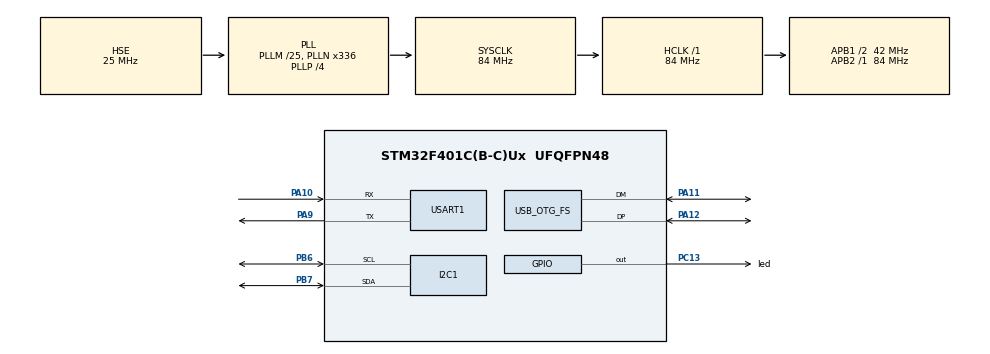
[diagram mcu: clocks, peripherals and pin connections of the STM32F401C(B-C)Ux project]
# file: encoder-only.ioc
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FREERTOS.Tasks01=defaultTask,24,128,StartDefaultTask,Default,NULL,Dynamic,NULL,NULL
FREERTOS.configUSE_NEWLIB_REENTRANT=1
Mcu.Family=STM32F4
Mcu.Name=STM32F401C(B-C)Ux
Mcu.Package=UFQFPN48
NVIC.OTG_FS_IRQn=true\:5\:0\:false\:false\:true\:true\:false\:true\:true
NVIC.PriorityGroup=NVIC_PRIORITYGROUP_4
NVIC.TIM1_UP_TIM10_IRQn=true\:15\:0\:false\:false\:true\:false\:false\:true\:true
NVIC.TimeBase=TIM1_UP_TIM10_IRQn
NVIC.TimeBaseIP=TIM10
PA10.Mode=Asynchronous
PA10.Signal=USART1_RX
PA11.Mode=Device_Only
PA11.Signal=USB_OTG_FS_DM
PA12.Mode=Device_Only
PA12.Signal=USB_OTG_FS_DP
PA13.Mode=Serial_Wire
PA13.Signal=SYS_JTMS-SWDIO
PA14.Mode=Serial_Wire
PA14.Signal=SYS_JTCK-SWCLK
PA9.Mode=Asynchronous
PA9.Signal=USART1_TX
PB6.Mode=I2C
PB6.Signal=I2C1_SCL
PB7.Mode=I2C
PB7.Signal=I2C1_SDA
PC13-ANTI_TAMP.GPIO_Label=led
PC13-ANTI_TAMP.Signal=GPIO_Output
PC14-OSC32_IN.Mode=LSE-External-Oscillator
PC14-OSC32_IN.Signal=RCC_OSC32_IN
PC15-OSC32_OUT.Mode=LSE-External-Oscillator
PC15-OSC32_OUT.Signal=RCC_OSC32_OUT
PH0\ -\ OSC_IN.Mode=HSE-External-Oscillator
PH0\ -\ OSC_IN.Signal=RCC_OSC_IN
PH1\ -\ OSC_OUT.Mode=HSE-External-Oscillator
PH1\ -\ OSC_OUT.Signal=RCC_OSC_OUT
ProjectManager.HeapSize=0x200
ProjectManager.StackSize=0x400
ProjectManager.TargetToolchain=CMake
RCC.48MHZClocksFreq_Value=48000000
RCC.AHBFreq_Value=84000000
RCC.APB1CLKDivider=RCC_HCLK_DIV2
RCC.APB1Freq_Value=42000000
RCC.APB1TimFreq_Value=84000000
RCC.APB2Freq_Value=84000000
RCC.APB2TimFreq_Value=84000000
RCC.CortexFreq_Value=84000000
RCC.HCLKFreq_Value=84000000
RCC.HSE_VALUE=25000000
RCC.HSI_VALUE=16000000
RCC.PLLM=25
RCC.PLLN=336
RCC.PLLP=RCC_PLLP_DIV4
RCC.PLLQ=7
RCC.RCC_RTC_Clock_Source=RCC_RTCCLKSOURCE_LSE
RCC.RCC_RTC_Clock_SourceVirtual=RCC_RTCCLKSOURCE_LSE
RCC.SYSCLKFreq_VALUE=84000000
RCC.SYSCLKSource=RCC_SYSCLKSOURCE_PLLCLK
RCC.VCOOutputFreq_Value=336000000
USART1.VirtualMode=VM_ASYNC
USB_DEVICE.CLASS_NAME_FS=CDC
USB_DEVICE.VirtualMode=Cdc
USB_DEVICE.VirtualModeFS=Cdc_FS
USB_OTG_FS.VirtualMode=Device_Only
VP_FREERTOS_VS_CMSIS_V2.Mode=CMSIS_V2
VP_RTC_VS_RTC_Activate.Mode=RTC_Enabled
VP_SYS_VS_tim10.Mode=TIM10
VP_USB_DEVICE_VS_USB_DEVICE_CDC_FS.Mode=CDC_FS
board=custom

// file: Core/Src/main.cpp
/* USER CODE BEGIN Header */
/**
  ******************************************************************************
  * @file           : main.c
  * @brief          : Main program body
  ******************************************************************************
  * @attention
  *
  * Copyright (c) 2025 STMicroelectronics.
  * All rights reserved.
  *
  * This software is licensed under terms that can be found in the LICENSE file
  * in the root directory of this software component.
  * If no LICENSE file comes with this software, it is provided AS-IS.
  *
  ******************************************************************************
  */
/* USER CODE END Header */
#include "main.h"
#include "cmsis_os.h"
#include "usb_device.h"

/* USER CODE BEGIN Includes */
#include <cstdbool>
#include <cstdio>
#include <cstring>
#include <cstdarg>
#include "Encoder.h"
#include "Led.h"
#include "Oled.hpp"
#include "Tasks.h"
#include "cmsis_os.h"

/* USER CODE END Includes */

/* USER CODE BEGIN PD */

// Firmware version
#define FW_VERSION "v0.4-date-time"

// Verbose logging control (1 = enable all logging, 0 = disable all logging)
// VERBOSE has priority over LOG_USB_ENABLED and LOG_UART_ENABLED
#define VERBOSE 1

// Individual channel control (only works if VERBOSE = 1)
#define LOG_UART_ENABLED 1  // Enable/disable UART logging
#define LOG_USB_ENABLED  1  // Enable/disable USB CDC logging

/* USER CODE END PD */

I2C_HandleTypeDef hi2c1;

RTC_HandleTypeDef hrtc;

UART_HandleTypeDef huart1;

/* Definitions for defaultTask */
osThreadId_t defaultTaskHandle;
const osThreadAttr_t defaultTask_attributes = {
  .name = "defaultTask",
  .stack_size = 256 * 4,
  .priority = (osPriority_t) osPriorityNormal,
};
/* USER CODE BEGIN PV */

// External USB CDC function
extern "C" uint8_t CDC_Transmit_FS(uint8_t* Buf, uint16_t Len);

// C++ objects (global for FreeRTOS tasks)
Encoder* encoder = nullptr;
Led* led = nullptr;
display::Oled* oled = nullptr;

// Export for tasks
Led* g_led = nullptr;
Encoder* g_encoder = nullptr;
display::Oled* g_oled = nullptr;

// Test mode flag (set at startup if TEST_BTN pressed)
bool g_test_mode = false;

/* USER CODE END PV */

void SystemClock_Config(void);
static void MX_GPIO_Init(void);
static void MX_RTC_Init(void);
static void MX_USART1_UART_Init(void);
static void MX_I2C1_Init(void);
void StartDefaultTask(void *argument);

/* USER CODE BEGIN 0 */

// EXTI callback for encoder channel A
extern "C" void HAL_GPIO_EXTI_Callback(uint16_t GPIO_Pin) {
  if (GPIO_Pin == ENCODER_A_Pin && encoder != nullptr) {
    encoder->handleInterrupt();
  }
}

// Dual output logging function (UART + USB-CDC) with timestamp
// VERBOSE = 0: All logging disabled
// VERBOSE = 1: Logging enabled, channels controlled by LOG_UART_ENABLED and LOG_USB_ENABLED
void Log_Printf(const char* format, ...) {
#if VERBOSE
  char message[256];
  char full_message[288];  // timestamp (32) + message (256)

  // Get current time from RTC
  RTC_TimeTypeDef sTime;
  RTC_DateTypeDef sDate;
  HAL_RTC_GetTime(&hrtc, &sTime, RTC_FORMAT_BIN);
  HAL_RTC_GetDate(&hrtc, &sDate, RTC_FORMAT_BIN);

  // Format user message first
  va_list args;
  va_start(args, format);
  int msg_len = vsnprintf(message, sizeof(message), format, args);
  va_end(args);

  if (msg_len > 0 && msg_len < (int)sizeof(message)) {
    // Combine timestamp + message into one buffer
    int total_len = snprintf(full_message, sizeof(full_message),
                            "[%02d.%02d.%02d %02d:%02d:%02d] %s",
                            sDate.Date, sDate.Month, sDate.Year,
                            sTime.Hours, sTime.Minutes, sTime.Seconds,
                            message);

    if (total_len > 0 && total_len < (int)sizeof(full_message)) {
#if LOG_UART_ENABLED
      // Send to UART1 if enabled (single transmission)
      HAL_UART_Transmit(&huart1, (uint8_t*)full_message, total_len, 100);
#endif

#if LOG_USB_ENABLED
      // Send to USB-CDC if enabled (single transmission)
      CDC_Transmit_FS((uint8_t*)full_message, total_len);
#endif
    }
  }
#endif
}

// Printf redirect for standard printf (uses UART only)
#ifdef __GNUC__
extern "C" int __io_putchar(int ch) {
  HAL_UART_Transmit(&huart1, (uint8_t*)&ch, 1, 10);
  return ch;
}
#endif

// Print startup banner with firmware version
void Print_Startup_Banner(void) {
  Log_Printf("=================================\r\n");
  Log_Printf("Firmware: %s\r\n", FW_VERSION);
  Log_Printf("Build: %s %s\r\n", __DATE__, __TIME__);
  Log_Printf("System started\r\n");
  Log_Printf("=================================\r\n");
}

/* USER CODE END 0 */

int main(void)
{

  /* MCU Configuration--------------------------------------------------------*/

  /* Reset of all peripherals, Initializes the Flash interface and the Systick. */
  HAL_Init();

  /* Configure the system clock */
  SystemClock_Config();

  /* Initialize all configured peripherals */
  MX_GPIO_Init();
  MX_RTC_Init();
  MX_USART1_UART_Init();
  MX_I2C1_Init();
  /* USER CODE BEGIN 2 */

  // Check if TEST_BTN (PA0) or ENCODER_ENTER is pressed at startup (active LOW with pull-up)
  GPIO_PinState pa0_state = HAL_GPIO_ReadPin(TEST_BTN_GPIO_Port, TEST_BTN_Pin);
  GPIO_PinState encoder_btn_state = HAL_GPIO_ReadPin(ENCODER_ENTER_GPIO_Port, ENCODER_ENTER_Pin);

  if (pa0_state == GPIO_PIN_RESET || encoder_btn_state == GPIO_PIN_RESET) {
    g_test_mode = true;
  }

  // Custom GPIO initialization for encoder pins
  GPIO_InitTypeDef GPIO_InitStruct = {0};

  // Enable GPIOB clock
  __HAL_RCC_GPIOB_CLK_ENABLE();

  // Configure GND pin as output LOW
  HAL_GPIO_WritePin(GND_PIN_GPIO_Port, GND_PIN_Pin, GPIO_PIN_RESET);
  GPIO_InitStruct.Pin = GND_PIN_Pin;
  GPIO_InitStruct.Mode = GPIO_MODE_OUTPUT_PP;
  GPIO_InitStruct.Pull = GPIO_NOPULL;
  GPIO_InitStruct.Speed = GPIO_SPEED_FREQ_LOW;
  HAL_GPIO_Init(GND_PIN_GPIO_Port, &GPIO_InitStruct);

  // Configure ENCODER_A with interrupt on both edges (CHANGE)
  GPIO_InitStruct.Pin = ENCODER_A_Pin;
  GPIO_InitStruct.Mode = GPIO_MODE_IT_RISING_FALLING;
  GPIO_InitStruct.Pull = GPIO_PULLUP;
  HAL_GPIO_Init(ENCODER_A_GPIO_Port, &GPIO_InitStruct);

  // Configure ENCODER_B as input with pull-up
  GPIO_InitStruct.Pin = ENCODER_B_Pin;
  GPIO_InitStruct.Mode = GPIO_MODE_INPUT;
  GPIO_InitStruct.Pull = GPIO_PULLUP;
  HAL_GPIO_Init(ENCODER_B_GPIO_Port, &GPIO_InitStruct);

  // Configure ENCODER_ENTER as input with pull-up
  GPIO_InitStruct.Pin = ENCODER_ENTER_Pin;
  GPIO_InitStruct.Mode = GPIO_MODE_INPUT;
  GPIO_InitStruct.Pull = GPIO_PULLUP;
  HAL_GPIO_Init(ENCODER_ENTER_GPIO_Port, &GPIO_InitStruct);

  // Enable EXTI interrupt for ENCODER_A
  HAL_NVIC_SetPriority(EXTI15_10_IRQn, 0, 0);
  HAL_NVIC_EnableIRQ(EXTI15_10_IRQn);

  // Create C++ objects
  encoder = new Encoder(ENCODER_A_GPIO_Port, ENCODER_A_Pin,
                        ENCODER_B_GPIO_Port, ENCODER_B_Pin,
                        ENCODER_ENTER_GPIO_Port, ENCODER_ENTER_Pin);
  encoder->init();

  led = new Led(led_GPIO_Port, led_Pin, false); // active low

  // Initialize OLED display
  oled = new display::Oled(&hi2c1);
  if (oled->init()) {
    oled->clear();
    oled->drawString(0, 0, "Encoder-Only");
    oled->drawString(0, 16, FW_VERSION);
    oled->update();
    // Note: Banner timeout handled in testTask (non-blocking)
  }

  // Share with FreeRTOS tasks
  g_encoder = encoder;
  g_led = led;
  g_oled = oled;

  // Note: Startup banner will be printed from testTask
  // after USB CDC enumeration (button press or 5 sec timeout)

  /* USER CODE END 2 */

  /* Init scheduler */
  osKernelInitialize();

  /* Create the thread(s) */
  /* creation of defaultTask */
  defaultTaskHandle = osThreadNew(StartDefaultTask, NULL, &defaultTask_attributes);

  /* USER CODE BEGIN RTOS_THREADS */
  /* add threads, ... */

  // Create LED heartbeat task
  const osThreadAttr_t ledTask_attributes = {
    .name = "ledTask",
    .stack_size = 512 * 4,
    .priority = (osPriority_t) osPriorityLow,
  };
  ledTaskHandle = osThreadNew(ledTask, NULL, &ledTask_attributes);

  // Create encoder test task
  const osThreadAttr_t testTask_attributes = {
    .name = "testTask",
    .stack_size = 256 * 4,
    .priority = (osPriority_t) osPriorityNormal,
  };
  testTaskHandle = osThreadNew(testTask, NULL, &testTask_attributes);

  /* USER CODE END RTOS_THREADS */

  /* Start scheduler */
  osKernelStart();

  /* We should never get here as control is now taken by the scheduler */

  /* Infinite loop */
  /* USER CODE BEGIN WHILE */

  // This code should never be reached - FreeRTOS scheduler has taken control
  while (1)
  {
    /* USER CODE END WHILE */

  }
}

void SystemClock_Config(void)
{
  RCC_OscInitTypeDef RCC_OscInitStruct = {0};
  RCC_ClkInitTypeDef RCC_ClkInitStruct = {0};

  /** Configure the main internal regulator output voltage
  */
  __HAL_RCC_PWR_CLK_ENABLE();
  __HAL_PWR_VOLTAGESCALING_CONFIG(PWR_REGULATOR_VOLTAGE_SCALE2);

  /** Initializes the RCC Oscillators according to the specified parameters
  * in the RCC_OscInitTypeDef structure.
  */
  RCC_OscInitStruct.OscillatorType = RCC_OSCILLATORTYPE_HSE|RCC_OSCILLATORTYPE_LSE;
  RCC_OscInitStruct.HSEState = RCC_HSE_ON;
  RCC_OscInitStruct.LSEState = RCC_LSE_ON;
  RCC_OscInitStruct.PLL.PLLState = RCC_PLL_ON;
  RCC_OscInitStruct.PLL.PLLSource = RCC_PLLSOURCE_HSE;
  RCC_OscInitStruct.PLL.PLLM = 25;
  RCC_OscInitStruct.PLL.PLLN = 336;
  RCC_OscInitStruct.PLL.PLLP = RCC_PLLP_DIV4;
  RCC_OscInitStruct.PLL.PLLQ = 7;
  if (HAL_RCC_OscConfig(&RCC_OscInitStruct) != HAL_OK)
  {
    Error_Handler();
  }

  /** Initializes the CPU, AHB and APB buses clocks
  */
  RCC_ClkInitStruct.ClockType = RCC_CLOCKTYPE_HCLK|RCC_CLOCKTYPE_SYSCLK
                              |RCC_CLOCKTYPE_PCLK1|RCC_CLOCKTYPE_PCLK2;
  RCC_ClkInitStruct.SYSCLKSource = RCC_SYSCLKSOURCE_PLLCLK;
  RCC_ClkInitStruct.AHBCLKDivider = RCC_SYSCLK_DIV1;
  RCC_ClkInitStruct.APB1CLKDivider = RCC_HCLK_DIV2;
  RCC_ClkInitStruct.APB2CLKDivider = RCC_HCLK_DIV1;

  if (HAL_RCC_ClockConfig(&RCC_ClkInitStruct, FLASH_LATENCY_2) != HAL_OK)
  {
    Error_Handler();
  }
}

static void MX_I2C1_Init(void)
{

  hi2c1.Instance = I2C1;
  hi2c1.Init.ClockSpeed = 100000;
  hi2c1.Init.DutyCycle = I2C_DUTYCYCLE_2;
  hi2c1.Init.OwnAddress1 = 0;
  hi2c1.Init.AddressingMode = I2C_ADDRESSINGMODE_7BIT;
  hi2c1.Init.DualAddressMode = I2C_DUALADDRESS_DISABLE;
  hi2c1.Init.OwnAddress2 = 0;
  hi2c1.Init.GeneralCallMode = I2C_GENERALCALL_DISABLE;
  hi2c1.Init.NoStretchMode = I2C_NOSTRETCH_DISABLE;
  if (HAL_I2C_Init(&hi2c1) != HAL_OK)
  {
    Error_Handler();
  }

}

static void MX_RTC_Init(void)
{

  /** Initialize RTC Only
  */
  hrtc.Instance = RTC;
  hrtc.Init.HourFormat = RTC_HOURFORMAT_24;
  hrtc.Init.AsynchPrediv = 127;
  hrtc.Init.SynchPrediv = 255;
  hrtc.Init.OutPut = RTC_OUTPUT_DISABLE;
  hrtc.Init.OutPutPolarity = RTC_OUTPUT_POLARITY_HIGH;
  hrtc.Init.OutPutType = RTC_OUTPUT_TYPE_OPENDRAIN;
  if (HAL_RTC_Init(&hrtc) != HAL_OK)
  {
    Error_Handler();
  }
  /* USER CODE BEGIN RTC_Init 2 */

  // Set initial date and time: 10.10.2025 14:00:00
  RTC_TimeTypeDef sTime = {0};
  RTC_DateTypeDef sDate = {0};

  // Set Time: 14:00:00
  sTime.Hours = 14;
  sTime.Minutes = 0;
  sTime.Seconds = 0;
  sTime.DayLightSaving = RTC_DAYLIGHTSAVING_NONE;
  sTime.StoreOperation = RTC_STOREOPERATION_RESET;
  if (HAL_RTC_SetTime(&hrtc, &sTime, RTC_FORMAT_BIN) != HAL_OK)
  {
    Error_Handler();
  }

  // Set Date: 10.10.2025 (Thursday)
  sDate.WeekDay = RTC_WEEKDAY_FRIDAY;
  sDate.Month = RTC_MONTH_OCTOBER;
  sDate.Date = 10;
  sDate.Year = 25;  // 2025 -> last 2 digits
  if (HAL_RTC_SetDate(&hrtc, &sDate, RTC_FORMAT_BIN) != HAL_OK)
  {
    Error_Handler();
  }

  /* USER CODE END RTC_Init 2 */

}

static void MX_USART1_UART_Init(void)
{

  huart1.Instance = USART1;
  huart1.Init.BaudRate = 115200;
  huart1.Init.WordLength = UART_WORDLENGTH_8B;
  huart1.Init.StopBits = UART_STOPBITS_1;
  huart1.Init.Parity = UART_PARITY_NONE;
  huart1.Init.Mode = UART_MODE_TX_RX;
  huart1.Init.HwFlowCtl = UART_HWCONTROL_NONE;
  huart1.Init.OverSampling = UART_OVERSAMPLING_16;
  if (HAL_UART_Init(&huart1) != HAL_OK)
  {
    Error_Handler();
  }

}

static void MX_GPIO_Init(void)
{
  GPIO_InitTypeDef GPIO_InitStruct = {0};

  /* GPIO Ports Clock Enable */
  __HAL_RCC_GPIOC_CLK_ENABLE();
  __HAL_RCC_GPIOH_CLK_ENABLE();
  __HAL_RCC_GPIOA_CLK_ENABLE();
  __HAL_RCC_GPIOB_CLK_ENABLE();

  /*Configure GPIO pin Output Level */
  HAL_GPIO_WritePin(led_GPIO_Port, led_Pin, GPIO_PIN_RESET);

  /*Configure GPIO pin : led_Pin */
  GPIO_InitStruct.Pin = led_Pin;
  GPIO_InitStruct.Mode = GPIO_MODE_OUTPUT_PP;
  GPIO_InitStruct.Pull = GPIO_NOPULL;
  GPIO_InitStruct.Speed = GPIO_SPEED_FREQ_LOW;
  HAL_GPIO_Init(led_GPIO_Port, &GPIO_InitStruct);

/* USER CODE BEGIN MX_GPIO_Init_2 */
  /*Configure GPIO pin : TEST_BTN_Pin (PA0) */
  GPIO_InitStruct.Pin = TEST_BTN_Pin;
  GPIO_InitStruct.Mode = GPIO_MODE_INPUT;
  GPIO_InitStruct.Pull = GPIO_PULLUP;
  HAL_GPIO_Init(TEST_BTN_GPIO_Port, &GPIO_InitStruct);
/* USER CODE END MX_GPIO_Init_2 */
}

void StartDefaultTask(void *argument)
{
  /* USER CODE BEGIN StartDefaultTask */
  (void)argument;

  /* init code for USB_DEVICE */
  MX_USB_DEVICE_Init();
  /* USER CODE BEGIN 5 */

  // static int count = 0;
  // char buf[20];
  /* Infinite loop */
  for(;;)
  {
    osDelay(1000);
  }
  /* USER CODE END 5 */
}

void HAL_TIM_PeriodElapsedCallback(TIM_HandleTypeDef *htim)
{
  if (htim->Instance == TIM10) {
    HAL_IncTick();
  }
}

void Error_Handler(void)
{
  __disable_irq();
  while (1)
  {
  }
}
